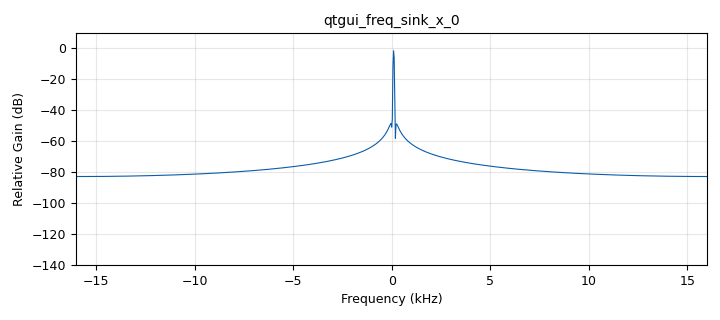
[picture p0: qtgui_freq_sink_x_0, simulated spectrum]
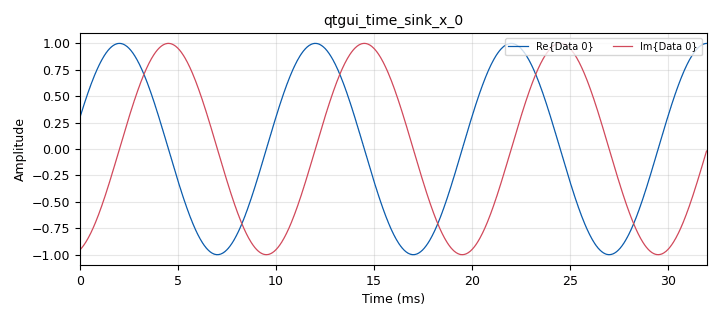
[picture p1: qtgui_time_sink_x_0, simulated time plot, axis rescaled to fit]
options:
  parameters:
    generate_options: qt_gui
    id: Lab_comu_I
    output_language: python
    title: Primer Flujograma
  states: {}

blocks:
- name: Amplitude
  id: variable_qtgui_range
  parameters:
    start: '0'
    step: '0.1'
    stop: '5'
    value: '0'
  states: {}
- name: frequency
  id: variable
  parameters:
    value: samp_rate/3
  states: {state: disabled}
- name: frequency
  id: variable_qtgui_range
  parameters:
    start: '-samp_rate/2'
    step: '100'
    stop: samp_rate/2
    value: '0'
  states: {}
- name: frequency1
  id: variable
  parameters:
    value: '100'
  states: {}
- name: samp_rate
  id: variable
  parameters:
    value: '32000'
  states: {}
- name: analog_sig_source_x_0
  id: analog_sig_source_x
  parameters:
    amp: '1'
    freq: '100'
    offset: '0'
    phase: '0'
    samp_rate: samp_rate
    type: complex
    waveform: analog.GR_SIN_WAVE
  states: {}
- name: blocks_throttle_0
  id: blocks_throttle
  parameters:
    samples_per_second: samp_rate
    type: complex
  states: {}
- name: qtgui_freq_sink_x_0
  id: qtgui_freq_sink_x
  parameters:
    bw: samp_rate
    fc: '0'
    fftsize: '1024'
    norm_window: 'True'
    type: complex
    wintype: window.WIN_HAMMING
  states: {}
- name: qtgui_time_sink_x_0
  id: qtgui_time_sink_x
  parameters:
    size: '1024'
    srate: samp_rate
    type: complex
    ymax: '0.1'
    ymin: '-0.1'
  states: {}

connections:
- [analog_sig_source_x_0, '0', blocks_throttle_0, '0']
- [blocks_throttle_0, '0', qtgui_freq_sink_x_0, '0']
- [blocks_throttle_0, '0', qtgui_time_sink_x_0, '0']

metadata:
  file_format: 1
  grc_version: 3.10.5.1
